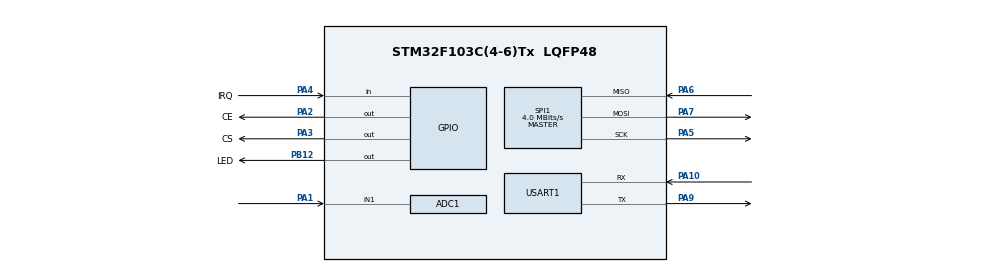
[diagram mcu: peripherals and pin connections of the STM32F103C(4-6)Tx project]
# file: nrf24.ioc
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ADC1.Channel-0\#ChannelRegularConversion=ADC_CHANNEL_1
ADC1.NbrOfConversionFlag=1
ADC1.Rank-0\#ChannelRegularConversion=1
ADC1.SamplingTime-0\#ChannelRegularConversion=ADC_SAMPLETIME_1CYCLE_5
ADC1.master=1
Mcu.Family=STM32F1
Mcu.Name=STM32F103C(4-6)Tx
Mcu.Package=LQFP48
NVIC.PriorityGroup=NVIC_PRIORITYGROUP_4
PA1.Signal=ADCx_IN1
PA10.Mode=Asynchronous
PA10.Signal=USART1_RX
PA2.GPIO_Label=CE
PA2.Signal=GPIO_Output
PA3.GPIO_Label=CS
PA3.PinState=GPIO_PIN_RESET
PA3.Signal=GPIO_Output
PA4.GPIO_Label=IRQ
PA4.Signal=GPIO_Input
PA5.Mode=Full_Duplex_Master
PA5.Signal=SPI1_SCK
PA6.Mode=Full_Duplex_Master
PA6.Signal=SPI1_MISO
PA7.Mode=Full_Duplex_Master
PA7.Signal=SPI1_MOSI
PA9.Mode=Asynchronous
PA9.Signal=USART1_TX
PB12.GPIO_Label=LED
PB12.Signal=GPIO_Output
ProjectManager.HeapSize=0x200
ProjectManager.StackSize=0x400
ProjectManager.TargetToolchain=MDK-ARM V5.27
RCC.APB1Freq_Value=8000000
RCC.APB2Freq_Value=8000000
SH.ADCx_IN1.0=ADC1_IN1,IN1
SPI1.BaudRatePrescaler=SPI_BAUDRATEPRESCALER_2
SPI1.CalculateBaudRate=4.0 MBits/s
SPI1.Direction=SPI_DIRECTION_2LINES
SPI1.Mode=SPI_MODE_MASTER
SPI1.VirtualType=VM_MASTER
USART1.VirtualMode=VM_ASYNC
VP_SYS_VS_ND.Mode=No_Debug
board=custom

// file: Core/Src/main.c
/* USER CODE BEGIN Header */
/**
 ******************************************************************************
 * @file           : main.c
 * @brief          : Main program body
 ******************************************************************************
 * @attention
 *
 * <h2><center>&copy; Copyright (c) 2022 STMicroelectronics.
 * All rights reserved.</center></h2>
 *
 * This software component is licensed by ST under BSD 3-Clause license,
 * the "License"; You may not use this file except in compliance with the
 * License. You may obtain a copy of the License at:
 *                        opensource.org/licenses/BSD-3-Clause
 *
 ******************************************************************************
 */
/* USER CODE END Header */
#include "main.h"

/* USER CODE BEGIN Includes */
#include "nrf24l01.h"
#include <stdio.h>
/* USER CODE END Includes */

ADC_HandleTypeDef hadc1;

SPI_HandleTypeDef hspi1;

UART_HandleTypeDef huart1;

void SystemClock_Config(void);
static void MX_GPIO_Init(void);
static void MX_ADC1_Init(void);
static void MX_SPI1_Init(void);
static void MX_USART1_UART_Init(void);

int main(void)
{

  /* MCU Configuration--------------------------------------------------------*/

  /* Reset of all peripherals, Initializes the Flash interface and the Systick. */
  HAL_Init();

  /* Configure the system clock */
  SystemClock_Config();

  /* Initialize all configured peripherals */
  MX_GPIO_Init();
  MX_ADC1_Init();
  MX_SPI1_Init();
  MX_USART1_UART_Init();
  /* USER CODE BEGIN 2 */
  NRF24L01_Init();
  NRF24L01_TX_Mode();

  if (NRF24L01_Check() == 0){
    HAL_Delay(800);
    HAL_GPIO_WritePin(GPIOB,GPIO_PIN_12,0);
    HAL_Delay(800);
    HAL_GPIO_WritePin(GPIOB,GPIO_PIN_12,1);
    HAL_Delay(800);
		HAL_GPIO_WritePin(GPIOB,GPIO_PIN_12,0);
    HAL_Delay(800);
    HAL_GPIO_WritePin(GPIOB,GPIO_PIN_12,1);
    HAL_Delay(800);
  }

  uint8_t mes[10]="HelloWorld";
  /* USER CODE END 2 */

  /* Infinite loop */
  while (1)
  {

    /* USER CODE BEGIN 3 */
    uint16_t adc;
    HAL_ADC_Start(&hadc1);
    HAL_ADC_PollForConversion(&hadc1, 50);
    if (HAL_IS_BIT_SET(HAL_ADC_GetState(&hadc1), HAL_ADC_STATE_REG_EOC))
    {
      adc = HAL_ADC_GetValue(&hadc1);
    }
    char str[4];
    sprintf(str, "%u", adc);

    HAL_UART_Transmit(&huart1,(uint8_t*)str,4,50);

    if(NRF24L01_TxPacket(mes)==TX_OK){
      HAL_GPIO_WritePin(GPIOB,GPIO_PIN_12,1);
    }
    else{
      HAL_GPIO_WritePin(GPIOB,GPIO_PIN_12,0);
    }
		//HAL_Delay(800);
  }
  /* USER CODE END 3 */
}

void SystemClock_Config(void)
{
  RCC_OscInitTypeDef RCC_OscInitStruct = {0};
  RCC_ClkInitTypeDef RCC_ClkInitStruct = {0};
  RCC_PeriphCLKInitTypeDef PeriphClkInit = {0};

  /** Initializes the RCC Oscillators according to the specified parameters
  * in the RCC_OscInitTypeDef structure.
  */
  RCC_OscInitStruct.OscillatorType = RCC_OSCILLATORTYPE_HSI;
  RCC_OscInitStruct.HSIState = RCC_HSI_ON;
  RCC_OscInitStruct.HSICalibrationValue = RCC_HSICALIBRATION_DEFAULT;
  RCC_OscInitStruct.PLL.PLLState = RCC_PLL_NONE;
  if (HAL_RCC_OscConfig(&RCC_OscInitStruct) != HAL_OK)
  {
    Error_Handler();
  }
  /** Initializes the CPU, AHB and APB buses clocks
  */
  RCC_ClkInitStruct.ClockType = RCC_CLOCKTYPE_HCLK|RCC_CLOCKTYPE_SYSCLK
                              |RCC_CLOCKTYPE_PCLK1|RCC_CLOCKTYPE_PCLK2;
  RCC_ClkInitStruct.SYSCLKSource = RCC_SYSCLKSOURCE_HSI;
  RCC_ClkInitStruct.AHBCLKDivider = RCC_SYSCLK_DIV1;
  RCC_ClkInitStruct.APB1CLKDivider = RCC_HCLK_DIV1;
  RCC_ClkInitStruct.APB2CLKDivider = RCC_HCLK_DIV1;

  if (HAL_RCC_ClockConfig(&RCC_ClkInitStruct, FLASH_LATENCY_0) != HAL_OK)
  {
    Error_Handler();
  }
  PeriphClkInit.PeriphClockSelection = RCC_PERIPHCLK_ADC;
  PeriphClkInit.AdcClockSelection = RCC_ADCPCLK2_DIV2;
  if (HAL_RCCEx_PeriphCLKConfig(&PeriphClkInit) != HAL_OK)
  {
    Error_Handler();
  }
}

static void MX_ADC1_Init(void)
{

  ADC_ChannelConfTypeDef sConfig = {0};

  /** Common config
  */
  hadc1.Instance = ADC1;
  hadc1.Init.ScanConvMode = ADC_SCAN_DISABLE;
  hadc1.Init.ContinuousConvMode = DISABLE;
  hadc1.Init.DiscontinuousConvMode = DISABLE;
  hadc1.Init.ExternalTrigConv = ADC_SOFTWARE_START;
  hadc1.Init.DataAlign = ADC_DATAALIGN_RIGHT;
  hadc1.Init.NbrOfConversion = 1;
  if (HAL_ADC_Init(&hadc1) != HAL_OK)
  {
    Error_Handler();
  }
  /** Configure Regular Channel
  */
  sConfig.Channel = ADC_CHANNEL_1;
  sConfig.Rank = ADC_REGULAR_RANK_1;
  sConfig.SamplingTime = ADC_SAMPLETIME_1CYCLE_5;
  if (HAL_ADC_ConfigChannel(&hadc1, &sConfig) != HAL_OK)
  {
    Error_Handler();
  }

}

static void MX_SPI1_Init(void)
{

  /* SPI1 parameter configuration*/
  hspi1.Instance = SPI1;
  hspi1.Init.Mode = SPI_MODE_MASTER;
  hspi1.Init.Direction = SPI_DIRECTION_2LINES;
  hspi1.Init.DataSize = SPI_DATASIZE_8BIT;
  hspi1.Init.CLKPolarity = SPI_POLARITY_LOW;
  hspi1.Init.CLKPhase = SPI_PHASE_1EDGE;
  hspi1.Init.NSS = SPI_NSS_SOFT;
  hspi1.Init.BaudRatePrescaler = SPI_BAUDRATEPRESCALER_2;
  hspi1.Init.FirstBit = SPI_FIRSTBIT_MSB;
  hspi1.Init.TIMode = SPI_TIMODE_DISABLE;
  hspi1.Init.CRCCalculation = SPI_CRCCALCULATION_DISABLE;
  hspi1.Init.CRCPolynomial = 10;
  if (HAL_SPI_Init(&hspi1) != HAL_OK)
  {
    Error_Handler();
  }

}

static void MX_USART1_UART_Init(void)
{

  huart1.Instance = USART1;
  huart1.Init.BaudRate = 115200;
  huart1.Init.WordLength = UART_WORDLENGTH_8B;
  huart1.Init.StopBits = UART_STOPBITS_1;
  huart1.Init.Parity = UART_PARITY_NONE;
  huart1.Init.Mode = UART_MODE_TX_RX;
  huart1.Init.HwFlowCtl = UART_HWCONTROL_NONE;
  huart1.Init.OverSampling = UART_OVERSAMPLING_16;
  if (HAL_UART_Init(&huart1) != HAL_OK)
  {
    Error_Handler();
  }

}

static void MX_GPIO_Init(void)
{
  GPIO_InitTypeDef GPIO_InitStruct = {0};

  /* GPIO Ports Clock Enable */
  __HAL_RCC_GPIOA_CLK_ENABLE();
  __HAL_RCC_GPIOB_CLK_ENABLE();

  /*Configure GPIO pin Output Level */
  HAL_GPIO_WritePin(GPIOA, CE_Pin|CS_Pin, GPIO_PIN_RESET);

  /*Configure GPIO pin Output Level */
  HAL_GPIO_WritePin(LED_GPIO_Port, LED_Pin, GPIO_PIN_RESET);

  /*Configure GPIO pins : CE_Pin CS_Pin */
  GPIO_InitStruct.Pin = CE_Pin|CS_Pin;
  GPIO_InitStruct.Mode = GPIO_MODE_OUTPUT_PP;
  GPIO_InitStruct.Pull = GPIO_NOPULL;
  GPIO_InitStruct.Speed = GPIO_SPEED_FREQ_LOW;
  HAL_GPIO_Init(GPIOA, &GPIO_InitStruct);

  /*Configure GPIO pin : IRQ_Pin */
  GPIO_InitStruct.Pin = IRQ_Pin;
  GPIO_InitStruct.Mode = GPIO_MODE_INPUT;
  GPIO_InitStruct.Pull = GPIO_NOPULL;
  HAL_GPIO_Init(IRQ_GPIO_Port, &GPIO_InitStruct);

  /*Configure GPIO pin : LED_Pin */
  GPIO_InitStruct.Pin = LED_Pin;
  GPIO_InitStruct.Mode = GPIO_MODE_OUTPUT_PP;
  GPIO_InitStruct.Pull = GPIO_NOPULL;
  GPIO_InitStruct.Speed = GPIO_SPEED_FREQ_LOW;
  HAL_GPIO_Init(LED_GPIO_Port, &GPIO_InitStruct);

}

void Error_Handler(void)
{
  __disable_irq();
  while (1)
  {
  }
}

/************************ (C) COPYRIGHT STMicroelectronics *****END OF FILE****/
